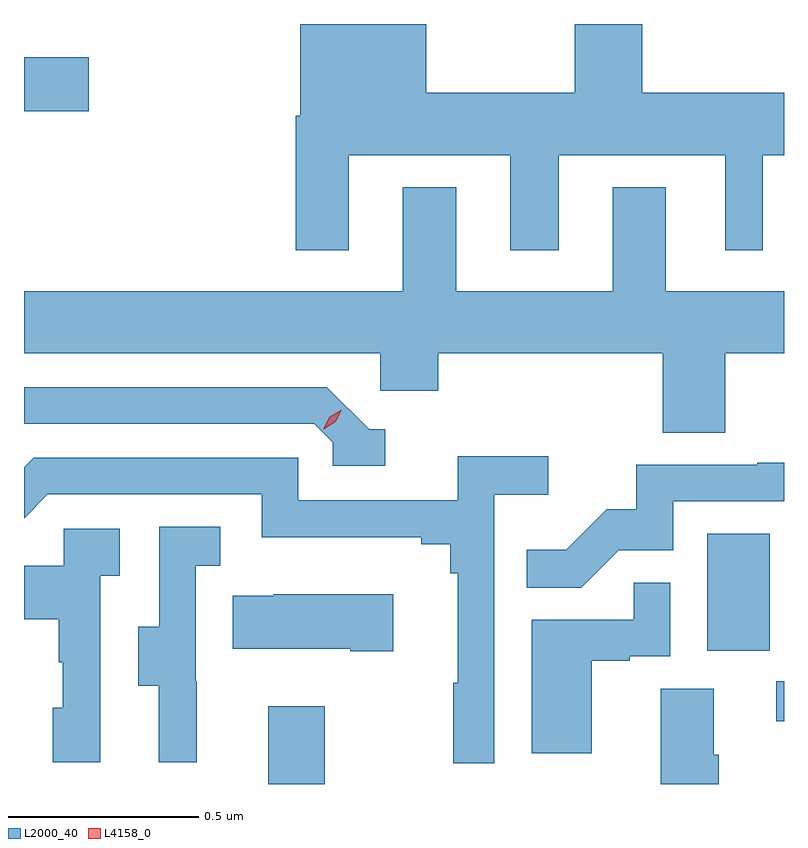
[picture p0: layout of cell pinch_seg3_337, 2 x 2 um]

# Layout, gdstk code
import gdstk
lib = gdstk.Library(unit=1e-6, precision=1e-09)
def R(c, l, rs):  # rectangles x0, y0, x1, y1
    for r in rs: c.add(gdstk.rectangle(r[:2], r[2:], *l))
def P(c, l, *ps):  # polygons
    for p in ps: c.add(gdstk.Polygon(p, *l))
L2000_40 = (2000, 40)
L4158_0 = (4158, 0)

pinch_seg3_337 = lib.new_cell('pinch_seg3_337')
R(pinch_seg3_337, L2000_40, [(997.373,718.431,997.521,718.636), (998.709,718.596,998.73,718.701), (998.528,718.782,998.692,719.089), (996.73,720.202,996.901,720.344)])
P(pinch_seg3_337, L2000_40, [(997.585,720.086),(998.009,720.086),(998.009,719.835),(998.137,719.835),(998.137,720.086),(998.576,720.086),(998.576,719.835),(998.674,719.835),(998.674,720.086),(998.73,720.086),(998.73,720.25),(998.357,720.25),(998.357,720.431),(998.179,720.431),(998.179,720.25),(997.789,720.25),(997.789,720.431),(997.457,720.431),(997.457,720.19),(997.445,720.19),(997.445,719.835),(997.585,719.835)],
  [(998.576,719.564),(998.73,719.564),(998.73,719.728),(998.419,719.728),(998.419,720.001),(998.279,720.001),(998.279,719.728),(997.867,719.728),(997.867,720.001),(997.727,720.001),(997.727,719.728),(996.73,719.728),(996.73,719.564),(997.668,719.564),(997.668,719.466),(997.82,719.466),(997.82,719.564),(998.411,719.564),(998.411,719.356),(998.576,719.356)],
  [(997.681,719.364),(997.638,719.364),(997.527,719.475),(996.73,719.475),(996.73,719.379),(997.494,719.379),(997.542,719.331),(997.542,719.268),(997.681,719.268)],
  [(997.968,719.192),(998.11,719.192),(998.11,719.294),(997.871,719.294),(997.871,719.178),(997.452,719.178),(997.452,719.289),(996.755,719.289),(996.73,719.264),(996.73,719.131),(996.792,719.193),(997.356,719.193),(997.356,719.081),(997.775,719.081),(997.775,719.062),(997.852,719.062),(997.852,718.985),(997.871,718.985),(997.871,718.697),(997.86,718.697),(997.86,718.485),(997.968,718.485)],
  [(998.295,719.046),(998.439,719.046),(998.439,719.175),(998.73,719.175),(998.73,719.276),(998.659,719.276),(998.659,719.271),(998.341,719.271),(998.341,719.154),(998.264,719.154),(998.157,719.047),(998.053,719.047),(998.053,718.948),(998.197,718.948)],
  [(997.184,718.701),(997.182,718.701),(997.182,719.005),(997.246,719.005),(997.246,719.108),(997.086,719.108),(997.086,718.845),(997.031,718.845),(997.031,718.69),(997.085,718.69),(997.085,718.488),(997.184,718.488)],
  [(996.93,718.979),(996.982,718.979),(996.982,719.103),(996.834,719.103),(996.834,719.005),(996.73,719.005),(996.73,718.865),(996.822,718.865),(996.822,718.751),(996.832,718.751),(996.832,718.632),(996.806,718.632),(996.806,718.488),(996.93,718.488)],
  [(998.224,718.755),(998.324,718.755),(998.324,718.767),(998.43,718.767),(998.43,718.961),(998.335,718.961),(998.335,718.863),(998.066,718.863),(998.066,718.512),(998.224,718.512)],
  [(997.702,718.93),(997.387,718.93),(997.387,718.927),(997.279,718.927),(997.279,718.787),(997.589,718.787),(997.589,718.78),(997.702,718.78)],
  [(998.558,718.508),(998.545,718.508),(998.545,718.682),(998.405,718.682),(998.405,718.431),(998.558,718.431)])
P(pinch_seg3_337, L4158_0, [(997.518,719.364),(997.518,719.365),(997.535,719.397),(997.566,719.416),(997.566,719.416),(997.566,719.416),(997.55,719.384),(997.519,719.364)])

lib.write_gds('pinch_seg3_337.gds')
